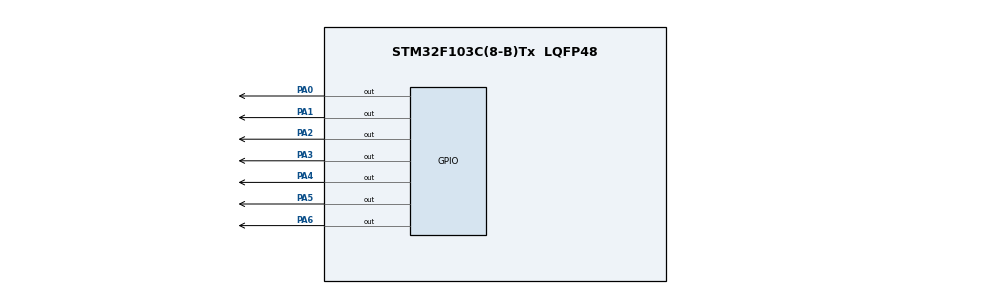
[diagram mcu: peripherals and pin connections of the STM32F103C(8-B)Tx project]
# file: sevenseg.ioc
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Mcu.Family=STM32F1
Mcu.Name=STM32F103C(8-B)Tx
Mcu.Package=LQFP48
NVIC.PriorityGroup=NVIC_PRIORITYGROUP_4
PA0-WKUP.Signal=GPIO_Output
PA1.Signal=GPIO_Output
PA2.Signal=GPIO_Output
PA3.Signal=GPIO_Output
PA4.Signal=GPIO_Output
PA5.Signal=GPIO_Output
PA6.Signal=GPIO_Output
ProjectManager.HeapSize=0x200
ProjectManager.StackSize=0x400
ProjectManager.TargetToolchain=STM32CubeIDE
RCC.APB1Freq_Value=8000000
RCC.APB2Freq_Value=8000000
board=custom

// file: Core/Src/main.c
/* USER CODE BEGIN Header */
/**
  ******************************************************************************
  * @file           : main.c
  * @brief          : Main program body
  ******************************************************************************
  * @attention
  *
  * Copyright (c) 2024 STMicroelectronics.
  * All rights reserved.
  *
  * This software is licensed under terms that can be found in the LICENSE file
  * in the root directory of this software component.
  * If no LICENSE file comes with this software, it is provided AS-IS.
  *
  ******************************************************************************
  */
/* USER CODE END Header */
#include "main.h"

void SystemClock_Config(void);
static void MX_GPIO_Init(void);

int main(void)
{

  /* MCU Configuration--------------------------------------------------------*/

  /* Reset of all peripherals, Initializes the Flash interface and the Systick. */
  HAL_Init();

  /* Configure the system clock */
  SystemClock_Config();

  /* Initialize all configured peripherals */
  MX_GPIO_Init();

  /* Infinite loop */
  /* USER CODE BEGIN WHILE */

  uint8_t digit[] = {
                      0b00111111,
                      0b00000110,
                      0b01011011,
                      0b01001111,
                      0b01100110,
                      0b01101101,
                      0b01111101,
                      0b00000111,
                      0b01111111,
                      0b01101111
                      };

  while (1)
  {
	  for(int i=0 ;i<=9; i++)
	  {
		HAL_GPIO_WritePin(GPIOA, digit[i] , GPIO_PIN_SET);
		HAL_Delay(1000);
		HAL_GPIO_WritePin(GPIOA, digit[i] , GPIO_PIN_RESET);

	  }

    /* USER CODE END WHILE */

  }
}

void SystemClock_Config(void)
{
  RCC_OscInitTypeDef RCC_OscInitStruct = {0};
  RCC_ClkInitTypeDef RCC_ClkInitStruct = {0};

  /** Initializes the RCC Oscillators according to the specified parameters
  * in the RCC_OscInitTypeDef structure.
  */
  RCC_OscInitStruct.OscillatorType = RCC_OSCILLATORTYPE_HSI;
  RCC_OscInitStruct.HSIState = RCC_HSI_ON;
  RCC_OscInitStruct.HSICalibrationValue = RCC_HSICALIBRATION_DEFAULT;
  RCC_OscInitStruct.PLL.PLLState = RCC_PLL_NONE;
  if (HAL_RCC_OscConfig(&RCC_OscInitStruct) != HAL_OK)
  {
    Error_Handler();
  }

  /** Initializes the CPU, AHB and APB buses clocks
  */
  RCC_ClkInitStruct.ClockType = RCC_CLOCKTYPE_HCLK|RCC_CLOCKTYPE_SYSCLK
                              |RCC_CLOCKTYPE_PCLK1|RCC_CLOCKTYPE_PCLK2;
  RCC_ClkInitStruct.SYSCLKSource = RCC_SYSCLKSOURCE_HSI;
  RCC_ClkInitStruct.AHBCLKDivider = RCC_SYSCLK_DIV1;
  RCC_ClkInitStruct.APB1CLKDivider = RCC_HCLK_DIV1;
  RCC_ClkInitStruct.APB2CLKDivider = RCC_HCLK_DIV1;

  if (HAL_RCC_ClockConfig(&RCC_ClkInitStruct, FLASH_LATENCY_0) != HAL_OK)
  {
    Error_Handler();
  }
}

static void MX_GPIO_Init(void)
{
  GPIO_InitTypeDef GPIO_InitStruct = {0};

  /* GPIO Ports Clock Enable */
  __HAL_RCC_GPIOA_CLK_ENABLE();

  /*Configure GPIO pin Output Level */
  HAL_GPIO_WritePin(GPIOA, GPIO_PIN_0|GPIO_PIN_1|GPIO_PIN_2|GPIO_PIN_3
                          |GPIO_PIN_4|GPIO_PIN_5|GPIO_PIN_6, GPIO_PIN_RESET);

  /*Configure GPIO pins : PA0 PA1 PA2 PA3
                           PA4 PA5 PA6 */
  GPIO_InitStruct.Pin = GPIO_PIN_0|GPIO_PIN_1|GPIO_PIN_2|GPIO_PIN_3
                          |GPIO_PIN_4|GPIO_PIN_5|GPIO_PIN_6;
  GPIO_InitStruct.Mode = GPIO_MODE_OUTPUT_PP;
  GPIO_InitStruct.Pull = GPIO_NOPULL;
  GPIO_InitStruct.Speed = GPIO_SPEED_FREQ_LOW;
  HAL_GPIO_Init(GPIOA, &GPIO_InitStruct);

}

void Error_Handler(void)
{
  __disable_irq();
  while (1)
  {
  }
}
